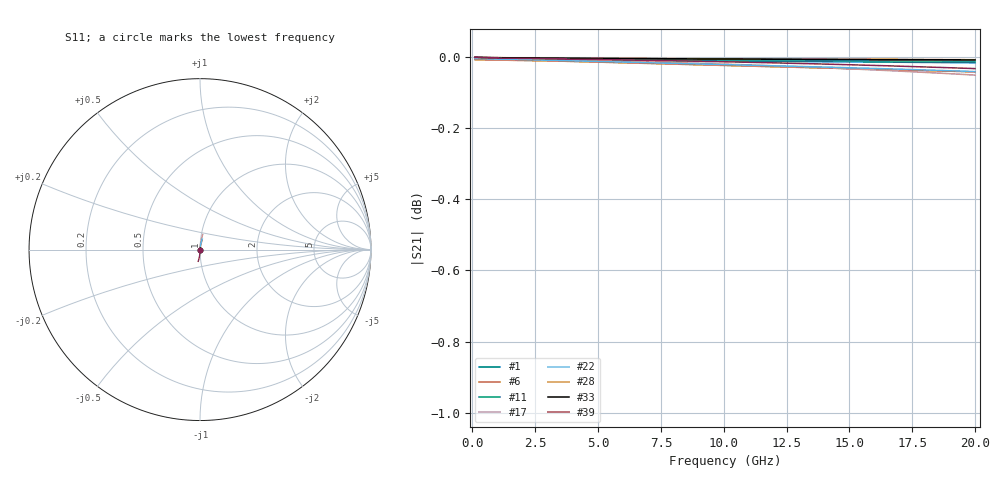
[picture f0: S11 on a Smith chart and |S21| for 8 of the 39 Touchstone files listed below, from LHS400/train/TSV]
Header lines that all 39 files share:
! Touchstone file exported from HFSS 2026.1.0
!  Design:  TSV
! Variables:
! Terminal data exported
# GHz S MA R 50.000000
Fixed: h_bsmrdl = 2um, h_ox = 20um, h_rdl = 5um, h_tmrdl = 5um, h_via = 3um, l_bsmrdl = 300um, l_tmrdl = 200um, m_sub = 200um, s_tmrdl = 10um, w_bsmrdl = 18um, w_sub = 500um, w_tmrdl = 12um, x_tsv_center1 = 206um, x_tsv_center2 = 524um, x_tsv_center3 = 736um, x_tsv_center4 = 1054um, x_tsv_center5 = 1266um, x_tsv_center6 = 1584um
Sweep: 100 MHz to 20 GHz
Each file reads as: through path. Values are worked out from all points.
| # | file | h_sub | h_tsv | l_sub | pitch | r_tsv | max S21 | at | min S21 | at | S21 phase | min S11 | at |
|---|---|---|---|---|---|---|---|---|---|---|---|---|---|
| 1 | dut380.s2p | 56.07um | 56.07um | 409.24um | 20.64um | 4.62um | 0.00 dB | 100 MHz | 0.0 dB | 20 GHz | -3 deg at 10.1 GHz | -69.2 dB | 100 MHz |
| 2 | dut382.s2p | 83.18um | 83.18um | 412.18um | 37.87um | 6.09um | 0.00 dB | 100 MHz | 0.0 dB | 20 GHz | -4 deg at 10.1 GHz | -67.9 dB | 100 MHz |
| 3 | dut383.s2p | 72.46um | 72.46um | 420.76um | 53.96um | 10.38um | 0.00 dB | 100 MHz | 0.0 dB | 20 GHz | -4 deg at 10.1 GHz | -73.2 dB | 100 MHz |
| 4 | dut384.s2p | 63.17um | 63.17um | 422.26um | 41.9um | 11.13um | 0.00 dB | 100 MHz | 0.0 dB | 20 GHz | -3 deg at 10.1 GHz | -80.6 dB | 100 MHz |
| 5 | dut385.s2p | 74.45um | 74.45um | 411.98um | 47.05um | 5.99um | 0.00 dB | 100 MHz | 0.0 dB | 20 GHz | -4 deg at 10.1 GHz | -66.7 dB | 100 MHz |
| 6 | dut386.s2p | 88.41um | 88.41um | 406.96um | 24.43um | 3.48um | -0.01 dB | 100 MHz | 0.0 dB | 20 GHz | -5 deg at 10.1 GHz | -60.8 dB | 100 MHz |
| 7 | dut387.s2p | 87.68um | 87.68um | 406.72um | 50.71um | 3.36um | -0.01 dB | 100 MHz | -0.1 dB | 20 GHz | -6 deg at 10.1 GHz | -58.7 dB | 100 MHz |
| 8 | dut388.s2p | 96.63um | 96.63um | 408.66um | 40.32um | 4.33um | -0.01 dB | 100 MHz | -0.1 dB | 20 GHz | -6 deg at 10.1 GHz | -61.9 dB | 100 MHz |
| 9 | dut389.s2p | 87.54um | 87.54um | 406.84um | 15.97um | 3.42um | -0.01 dB | 100 MHz | 0.0 dB | 20 GHz | -4 deg at 10.1 GHz | -61.0 dB | 100 MHz |
| 10 | dut390.s2p | 85.34um | 85.34um | 404.18um | 35.42um | 2.09um | -0.02 dB | 100 MHz | -0.1 dB | 20 GHz | -6 deg at 10.1 GHz | -52.6 dB | 100 MHz |
| 11 | dut391.s2p | 95.24um | 95.24um | 423.4um | 48.38um | 11.7um | 0.00 dB | 100 MHz | 0.0 dB | 20 GHz | -5 deg at 10.1 GHz | -77.6 dB | 100 MHz |
| 12 | dut392.s2p | 60.83um | 60.83um | 429.06um | 44.43um | 14.53um | 0.00 dB | 100 MHz | 0.0 dB | 20 GHz | -3 deg at 10.1 GHz | -76.8 dB | 100 MHz |
| 13 | dut393.s2p | 91.51um | 91.51um | 424.02um | 50.29um | 12.01um | 0.00 dB | 100 MHz | 0.0 dB | 20 GHz | -5 deg at 10.1 GHz | -77.7 dB | 100 MHz |
| 14 | dut394.s2p | 68.54um | 68.54um | 419.66um | 25.31um | 9.83um | 0.00 dB | 100 MHz | 0.0 dB | 20 GHz | -4 deg at 10.1 GHz | -69.8 dB | 100 MHz |
| 15 | dut395.s2p | 55.65um | 55.65um | 410.26um | 41.6um | 5.13um | 0.00 dB | 100 MHz | 0.0 dB | 20 GHz | -3 deg at 10.1 GHz | -67.6 dB | 100 MHz |
| 16 | dut396.s2p | 80.62um | 80.62um | 421um | 37.6um | 10.5um | 0.00 dB | 100 MHz | 0.0 dB | 20 GHz | -4 deg at 10.1 GHz | -77.9 dB | 100 MHz |
| 17 | dut397.s2p | 69.77um | 69.77um | 411.3um | 57.88um | 5.65um | 0.00 dB | 100 MHz | -0.1 dB | 20 GHz | -5 deg at 10.1 GHz | -64.9 dB | 100 MHz |
| 18 | dut398.s2p | 80.72um | 80.72um | 421.42um | 45.17um | 10.71um | 0.00 dB | 100 MHz | 0.0 dB | 20 GHz | -4 deg at 10.1 GHz | -77.3 dB | 100 MHz |
| 19 | dut399.s2p | 54.93um | 54.93um | 404.24um | 15.1um | 2.12um | -0.01 dB | 100 MHz | 0.0 dB | 20 GHz | -3 deg at 10.1 GHz | -56.8 dB | 100 MHz |
| 20 | dut400.s2p | 63.39um | 63.39um | 424.4um | 38.87um | 12.2um | 0.00 dB | 100 MHz | 0.0 dB | 20 GHz | -3 deg at 10.1 GHz | -77.6 dB | 100 MHz |
| 21 | dut401.s2p | 78.55um | 78.55um | 428.36um | 53.66um | 14.18um | 0.00 dB | 100 MHz | 0.0 dB | 20 GHz | -4 deg at 10.1 GHz | -82.4 dB | 100 MHz |
| 22 | dut402.s2p | 94.75um | 94.75um | 409.4um | 33.83um | 4.7um | 0.00 dB | 100 MHz | 0.0 dB | 20 GHz | -5 deg at 10.1 GHz | -63.9 dB | 100 MHz |
| 23 | dut403.s2p | 77.2um | 77.2um | 425.02um | 35.02um | 12.51um | 0.00 dB | 100 MHz | 0.0 dB | 20 GHz | -4 deg at 10.1 GHz | -71.6 dB | 100 MHz |
| 24 | dut404.s2p | 57.71um | 57.71um | 404.54um | 16.38um | 2.27um | -0.01 dB | 100 MHz | 0.0 dB | 20 GHz | -3 deg at 10.1 GHz | -57.5 dB | 100 MHz |
| 25 | dut405.s2p | 64.57um | 64.57um | 429.66um | 37.24um | 14.83um | 0.00 dB | 100 MHz | 0.0 dB | 20 GHz | -4 deg at 10.1 GHz | -69.3 dB | 100 MHz |
| 26 | dut406.s2p | 64.47um | 64.47um | 424.7um | 58.87um | 12.35um | 0.00 dB | 100 MHz | 0.0 dB | 20 GHz | -4 deg at 10.1 GHz | -76.0 dB | 100 MHz |
| 27 | dut407.s2p | 59.12um | 59.12um | 413.5um | 48.81um | 6.75um | 0.00 dB | 100 MHz | 0.0 dB | 20 GHz | -4 deg at 10.1 GHz | -69.2 dB | 100 MHz |
| 28 | dut408.s2p | 56.3um | 56.3um | 426.4um | 58.38um | 13.2um | 0.00 dB | 100 MHz | 0.0 dB | 20 GHz | -3 deg at 10.1 GHz | -79.0 dB | 100 MHz |
| 29 | dut409.s2p | 57.22um | 57.22um | 409.88um | 23.67um | 4.94um | 0.00 dB | 100 MHz | 0.0 dB | 20 GHz | -3 deg at 10.1 GHz | -69.8 dB | 100 MHz |
| 30 | dut410.s2p | 77.51um | 77.51um | 420.82um | 56.04um | 10.41um | 0.00 dB | 100 MHz | 0.0 dB | 20 GHz | -4 deg at 10.1 GHz | -72.2 dB | 100 MHz |
| 31 | dut411.s2p | 71.88um | 71.88um | 416.12um | 54.68um | 8.06um | 0.00 dB | 100 MHz | 0.0 dB | 20 GHz | -4 deg at 10.1 GHz | -69.0 dB | 100 MHz |
| 32 | dut412.s2p | 77.04um | 77.04um | 418.2um | 23.93um | 9.1um | 0.00 dB | 100 MHz | 0.0 dB | 20 GHz | -4 deg at 10.1 GHz | -69.4 dB | 100 MHz |
| 33 | dut413.s2p | 64.25um | 64.25um | 426.04um | 55.55um | 13.02um | 0.00 dB | 100 MHz | 0.0 dB | 20 GHz | -3 deg at 10.1 GHz | -79.5 dB | 100 MHz |
| 34 | dut414.s2p | 74.53um | 74.53um | 405.2um | 43.2um | 2.6um | -0.01 dB | 100 MHz | -0.1 dB | 20 GHz | -5 deg at 10.1 GHz | -56.9 dB | 100 MHz |
| 35 | dut415.s2p | 63.71um | 63.71um | 408.56um | 29.26um | 4.28um | 0.00 dB | 100 MHz | 0.0 dB | 20 GHz | -3 deg at 10.1 GHz | -66.0 dB | 100 MHz |
| 36 | dut416.s2p | 79.67um | 79.67um | 427.48um | 53.75um | 13.74um | 0.00 dB | 100 MHz | 0.0 dB | 20 GHz | -4 deg at 10.1 GHz | -81.5 dB | 100 MHz |
| 37 | dut417.s2p | 99.47um | 99.47um | 405.88um | 24.43um | 2.94um | -0.01 dB | 100 MHz | -0.1 dB | 20 GHz | -5 deg at 10.1 GHz | -57.1 dB | 100 MHz |
| 38 | dut418.s2p | 93.42um | 93.42um | 405.98um | 28.7um | 2.99um | -0.01 dB | 100 MHz | -0.1 dB | 20 GHz | -5 deg at 10.1 GHz | -57.7 dB | 100 MHz |
| 39 | dut419.s2p | 94.45um | 94.45um | 428.8um | 40.49um | 14.4um | 0.00 dB | 100 MHz | 0.0 dB | 20 GHz | -5 deg at 10.1 GHz | -70.2 dB | 100 MHz |
